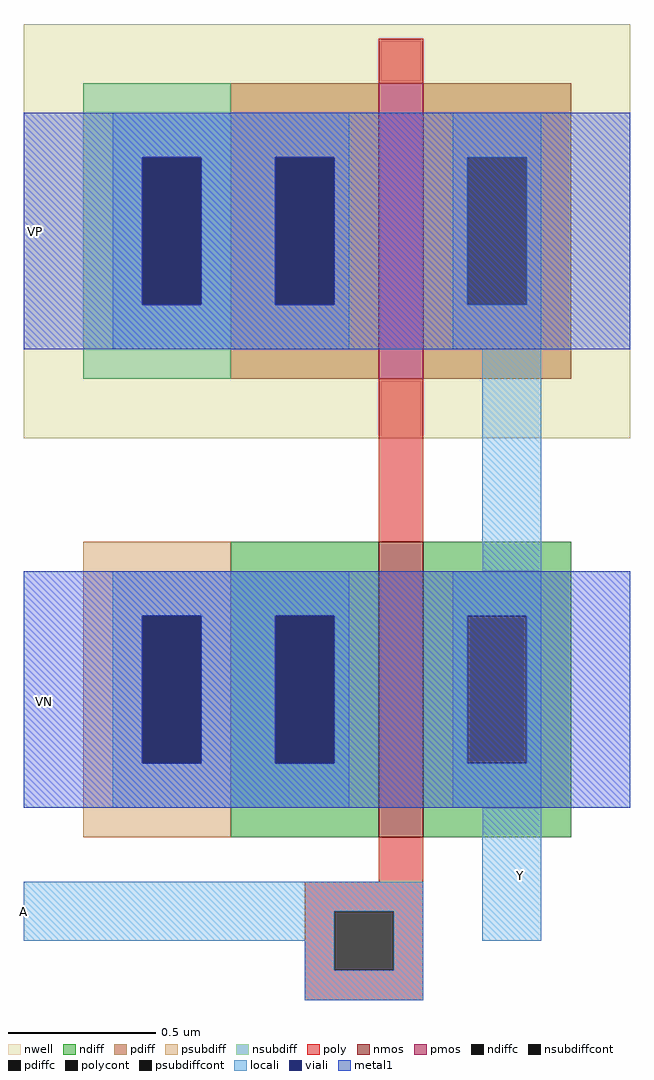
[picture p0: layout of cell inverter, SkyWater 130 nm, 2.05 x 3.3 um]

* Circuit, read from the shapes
.subckt inverter A Y VP VN
XM1 Y A VN VN sky130_fd_pr__nfet_01v8 w=1 l=0.15
XM2 Y A VP VP sky130_fd_pr__pfet_01v8 w=1 l=0.15
.ends

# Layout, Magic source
magic
tech sky130A
<< nwell >>
rect -145 115 60 255
<< nmos >>
rect -25 -20 -10 80
<< pmos >>
rect -25 135 -10 235
<< ndiff >>
rect -75 55 -25 80
rect -75 5 -60 55
rect -40 5 -25 55
rect -75 -20 -25 5
rect -10 55 40 80
rect -10 5 5 55
rect 25 5 40 55
rect -10 -20 40 5
<< pdiff >>
rect -75 210 -25 235
rect -75 160 -60 210
rect -40 160 -25 210
rect -75 135 -25 160
rect -10 210 40 235
rect -10 160 5 210
rect 25 160 40 210
rect -10 135 40 160
<< ndiffc >>
rect -60 5 -40 55
rect 5 5 25 55
<< pdiffc >>
rect -60 160 -40 210
rect 5 160 25 210
<< psubdiff >>
rect -125 55 -75 80
rect -125 5 -105 55
rect -85 5 -75 55
rect -125 -20 -75 5
<< nsubdiff >>
rect -125 210 -75 235
rect -125 160 -105 210
rect -85 160 -75 210
rect -125 135 -75 160
<< psubdiffcont >>
rect -105 5 -85 55
<< nsubdiffcont >>
rect -105 160 -85 210
<< poly >>
rect -25 235 -10 250
rect -25 80 -10 135
rect -25 -35 -10 -20
rect -50 -45 -10 -35
rect -50 -65 -40 -45
rect -20 -65 -10 -45
rect -50 -75 -10 -65
<< polycont >>
rect -40 -65 -20 -45
<< locali >>
rect -115 210 -35 225
rect -115 160 -105 210
rect -85 160 -60 210
rect -40 160 -35 210
rect -115 145 -35 160
rect 0 210 30 225
rect 0 160 5 210
rect 25 160 30 210
rect 0 145 30 160
rect 10 70 30 145
rect -115 55 -35 70
rect -115 5 -105 55
rect -85 5 -60 55
rect -40 5 -35 55
rect -115 -10 -35 5
rect 0 55 30 70
rect 0 5 5 55
rect 25 5 30 55
rect 0 -10 30 5
rect -145 -45 -10 -35
rect -145 -55 -40 -45
rect -50 -65 -40 -55
rect -20 -65 -10 -45
rect 10 -55 30 -10
rect -50 -75 -10 -65
<< viali >>
rect -105 160 -85 210
rect -60 160 -40 210
rect -105 5 -85 55
rect -60 5 -40 55
<< metal1 >>
rect -145 210 60 225
rect -145 160 -105 210
rect -85 160 -60 210
rect -40 160 60 210
rect -145 145 60 160
rect -145 55 60 70
rect -145 5 -105 55
rect -85 5 -60 55
rect -40 5 60 55
rect -145 -10 60 5
<< labels >>
rlabel locali -145 -45 -145 -45 7 A
port 1 w
rlabel locali 23 -33 23 -33 1 Y
port 2 n
rlabel metal1 -141 185 -141 185 3 VP
port 3 e
rlabel metal1 -138 26 -138 26 1 VN
port 4 n
<< end >>
